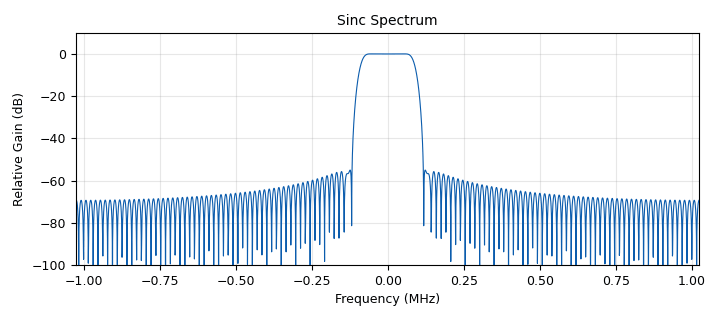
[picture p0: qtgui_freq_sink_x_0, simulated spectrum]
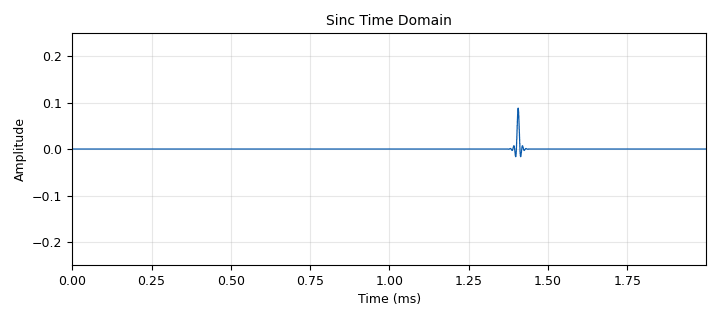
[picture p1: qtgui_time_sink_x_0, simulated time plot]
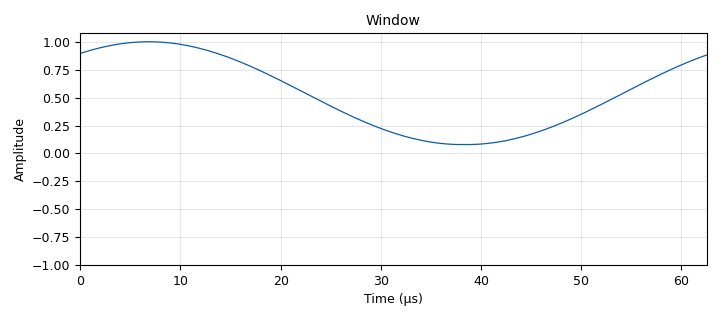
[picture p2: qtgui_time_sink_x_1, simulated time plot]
options:
  parameters:
    author: Gary Schafer
    generate_options: qt_gui
    id: basic_fir_filter_by_parts
    output_language: python
    title: Sinc Time Domain = Square Spectrum
  states: {}

blocks:
- name: N
  id: variable
  parameters:
    value: 2**12
  states: {}
- name: cf
  id: variable_qtgui_range
  parameters:
    gui_hint: 0,0,1,20
    label: Passband Frequency (kHz)
    start: '1'
    step: '1'
    stop: '250'
    value: '90'
  states: {}
- name: gain
  id: variable
  parameters:
    value: np.sum(sinc)
  states: {}
- name: samp_rate
  id: variable
  parameters:
    value: 2.048e6
  states: {}
- name: sinc
  id: variable
  parameters:
    comment: Create sinc curve
    value: sig.firwin(taps,cf*1000/samp_rate,window=('hamming'),fs=1)
  states: {}
- name: taps
  id: variable_qtgui_range
  parameters:
    gui_hint: 1,0,1,20
    label: Number of Filter Taps
    rangeType: int
    start: '11'
    step: '2'
    stop: '1001'
    value: '129'
  states: {}
- name: w
  id: variable
  parameters:
    value: window.hamming(taps)
  states: {}
- name: blocks_delay_0
  id: blocks_delay
  parameters:
    delay: int(taps/2)
    type: float
  states: {}
- name: blocks_multiply_const_vxx_1_0
  id: blocks_multiply_const_vxx
  parameters:
    const: N
    type: float
  states: {}
- name: blocks_throttle_0
  id: blocks_throttle
  parameters:
    samples_per_second: samp_rate
    type: float
  states: {}
- name: blocks_vector_source_x_0
  id: blocks_vector_source_x
  parameters:
    repeat: 'True'
    type: float
    vector: (0,)*int(N/2-1)+(1,)+(0,)*int(N/2)
  states: {}
- name: blocks_vector_source_x_1
  id: blocks_vector_source_x
  parameters:
    repeat: 'True'
    type: float
    vector: w
  states: {}
- name: fir_filter_xxx_0
  id: fir_filter_xxx
  parameters:
    decim: '1'
    taps: sinc/gain
    type: fff
  states: {}
- name: import_0
  id: import
  parameters:
    imports: import numpy as np
  states: {}
- name: import_1
  id: import
  parameters:
    imports: import scipy.signal as sig
  states: {}
- name: myTabs
  id: qtgui_tab_widget
  parameters:
    gui_hint: 2,0,20,20
    label0: Impulse / Frequency Response
    label1: Window
    num_tabs: '2'
  states: {}
- name: qtgui_freq_sink_x_0
  id: qtgui_freq_sink_x
  parameters:
    bw: samp_rate
    color1: '"black"'
    fc: '0'
    fftsize: N
    grid: 'True'
    gui_hint: myTabs@0:10,0,10,20
    label1: By Parts
    legend: 'False'
    name: Sinc Spectrum
    type: float
    width1: '2'
    wintype: window.WIN_RECTANGULAR
    ymin: '-100'
  states: {}
- name: qtgui_time_sink_x_0
  id: qtgui_time_sink_x
  parameters:
    color1: black
    grid: 'True'
    gui_hint: myTabs@0:0,0,10,20
    label1: By Parts
    legend: 'False'
    name: Sinc Time Domain
    size: N
    srate: samp_rate
    type: float
    ymax: '0.25'
    ymin: '-0.25'
  states: {}
- name: qtgui_time_sink_x_1
  id: qtgui_time_sink_x
  parameters:
    color1: black
    grid: 'True'
    gui_hint: myTabs@1
    legend: 'False'
    name: Window
    size: taps
    srate: samp_rate
    tr_level: '0.1'
    type: float
  states: {}

connections:
- [blocks_delay_0, '0', qtgui_time_sink_x_0, '0']
- [blocks_multiply_const_vxx_1_0, '0', qtgui_freq_sink_x_0, '0']
- [blocks_throttle_0, '0', fir_filter_xxx_0, '0']
- [blocks_vector_source_x_0, '0', blocks_throttle_0, '0']
- [blocks_vector_source_x_1, '0', qtgui_time_sink_x_1, '0']
- [fir_filter_xxx_0, '0', blocks_delay_0, '0']
- [fir_filter_xxx_0, '0', blocks_multiply_const_vxx_1_0, '0']

metadata:
  file_format: 1
  grc_version: 3.10.9.2
